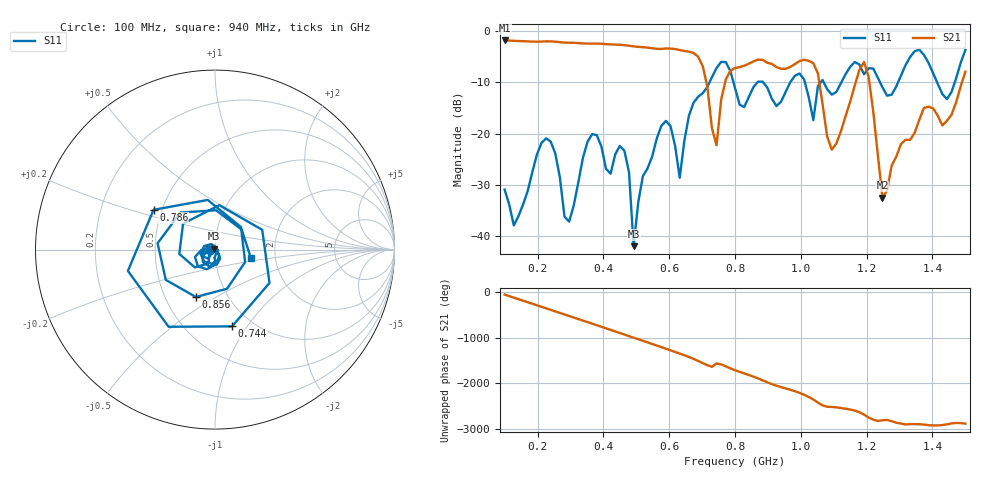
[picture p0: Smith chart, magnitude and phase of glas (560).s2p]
! NanoVNA-App
! Date: 2025-09-25 15:59:50
! Start: 100MHz Stop: 1,5GHz Points: 101
! S-Parameter data: F S11 S21 S12 S22
# Hz S RI R 50
!  Frequency  S11_Real  S11_Imag  S21_Real  S21_Imag  S12_Real  S12_Imag  S22_Real  S22_Imag
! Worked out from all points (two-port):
!   101 points, 100 MHz to 1.5 GHz, reference 50 ohm
!   highest |S21| = -1.80 dB at 100 MHz (marker M1); lowest = -32.5 dB at 1.248 GHz (marker M2)
!   |S21| within 3 dB of the highest: start of sweep to 684.5 MHz
!   lowest |S11| = -42.0 dB at 492 MHz (marker M3), VSWR 1.02, Z = 49.5 + j0.602 ohm
!   |S11| at or under -10 dB: start of sweep to 722.5 MHz; 795.4 MHz to 867.9 MHz (72.51 MHz wide, 8.72 % of centre); 885.9 MHz to 967.6 MHz (81.76 MHz wide, 8.82 % of centre) (the widest 3 of 7)
!   S12 and S22 are empty: the file has one direction only
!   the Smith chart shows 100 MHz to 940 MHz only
!   S11 on the Smith chart (normalised r, x): 100 MHz: 0.95, -0.01; 744 MHz: 0.81, -0.85; 786 MHz: 0.45, +0.24; 856 MHz: 0.71, -0.41; 940 MHz: 1.49, -0.15
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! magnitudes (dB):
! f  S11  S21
! 100 MHz  -30.9  -1.8
! 128 MHz  -37.9  -1.9
! 226 MHz  -20.9  -2.0
! 296 MHz  -37.2  -2.2
! 338 MHz  -24.7  -2.4
! 464 MHz  -23.4  -2.7
! 492 MHz  -42.0  -3.0
! 576 MHz  -18.5  -3.5
! 632 MHz  -28.6  -3.7
! 702 MHz  -12.1  -6.8
! 744 MHz  -7.2  -22.3
! 786 MHz  -7.8  -7.7
! 800 MHz  -11.1  -7.2
! 856 MHz  -10.9  -5.9
! 940 MHz  -13.8  -7.3
! 996 MHz  -8.3  -5.8
! 1.038 GHz  -17.4  -6.3
! 1.094 GHz  -12.4  -23.1
! 1.192 GHz  -8.4  -6.0
! 1.248 GHz  -11.0  -32.5
! 1.276 GHz  -12.4  -26.2
! 1.5 GHz  -3.7  -7.9
